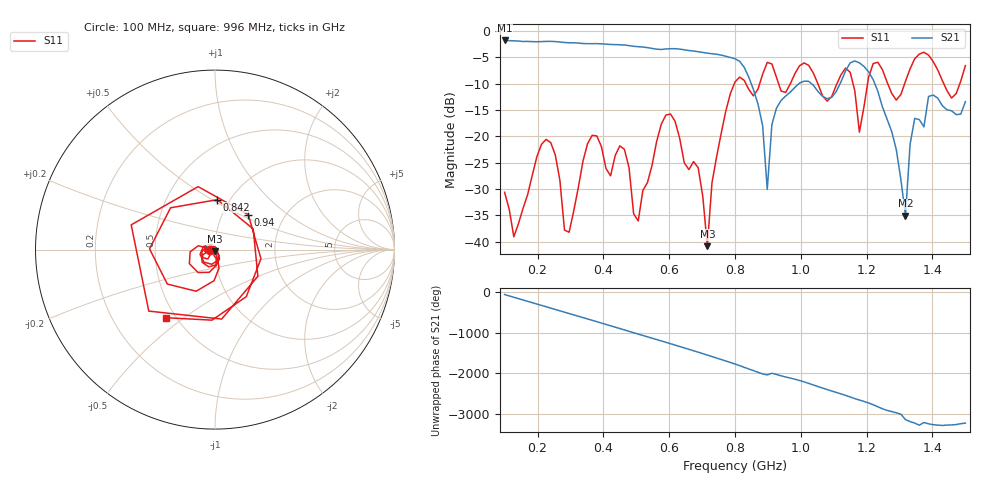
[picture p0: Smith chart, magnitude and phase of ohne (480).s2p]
! NanoVNA-App
! Date: 2025-09-25 14:24:32
! Start: 100MHz Stop: 1,5GHz Points: 101
! S-Parameter data: F S11 S21 S12 S22
# Hz S RI R 50
!  Frequency  S11_Real  S11_Imag  S21_Real  S21_Imag  S12_Real  S12_Imag  S22_Real  S22_Imag
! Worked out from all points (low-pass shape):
!   101 points, 100 MHz to 1.5 GHz, reference 50 ohm
!   highest |S21| = -1.79 dB at 100 MHz (marker M1); lowest = -35.1 dB at 1.318 GHz (marker M2)
!   |S21| within 3 dB of the highest: start of sweep to 771.9 MHz
!   lowest |S11| = -40.9 dB at 716 MHz (marker M3), VSWR 1.02, Z = 49.7 - j0.866 ohm
!   |S11| at or under -10 dB: start of sweep to 798 MHz; 833.1 MHz to 875 MHz (41.98 MHz wide, 4.92 % of centre); 1.052 GHz to 1.11 GHz (57.99 MHz wide, 5.37 % of centre) (the widest 3 of 7)
!   S12 and S22 are empty: the file has one direction only
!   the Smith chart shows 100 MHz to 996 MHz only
!   S11 on the Smith chart (normalised r, x): 100 MHz: 0.94, -0.01; 842 MHz: 0.88, +0.53; 940 MHz: 1.32, +0.56; 996 MHz: 0.44, -0.43
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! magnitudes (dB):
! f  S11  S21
! 100 MHz  -30.6  -1.8
! 128 MHz  -39.1  -1.9
! 226 MHz  -20.6  -2.0
! 296 MHz  -38.2  -2.2
! 338 MHz  -24.8  -2.4
! 464 MHz  -22.5  -2.7
! 506 MHz  -36.1  -3.0
! 576 MHz  -17.7  -3.5
! 688 MHz  -26.0  -3.9
! 716 MHz  -40.9  -4.2
! 800 MHz  -9.7  -5.3
! 842 MHz  -11.1  -8.8
! 898 MHz  -6.0  -30.1
! 940 MHz  -11.4  -13.2
! 996 MHz  -6.6  -9.9
! 1.038 GHz  -8.0  -10.3
! 1.178 GHz  -19.2  -6.0
! 1.22 GHz  -6.2  -9.2
! 1.276 GHz  -11.8  -19.1
! 1.318 GHz  -9.6  -35.1
! 1.346 GHz  -5.3  -16.6
! 1.5 GHz  -6.6  -13.4
